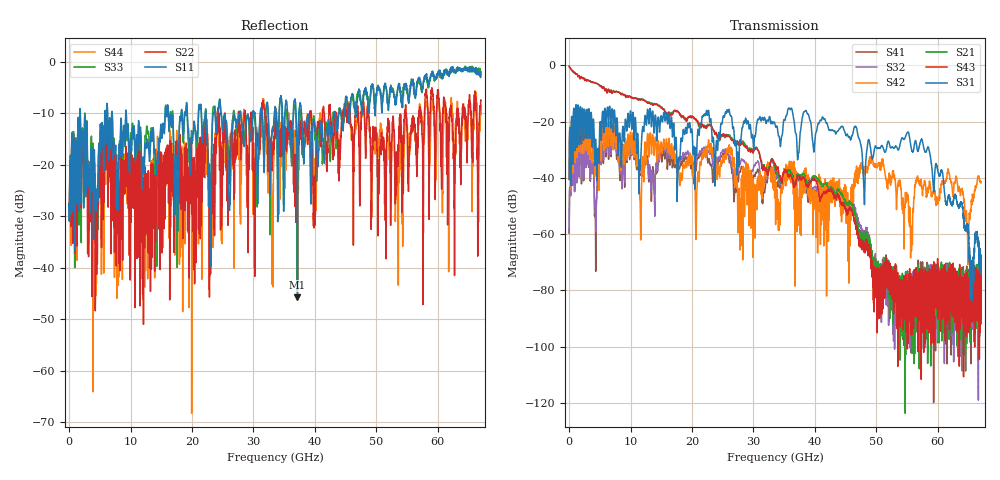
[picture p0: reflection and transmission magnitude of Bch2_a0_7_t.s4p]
!Agilent Technologies,N5247A,US51170199,A.09.90.13
!Agilent N5247A: A.09.90.13
!Date: Monday, October 22, 2018 15:52:18
!Correction: S11(Full 4 Port(1,2,3,4))
!S12(Full 4 Port(1,2,3,4))
!S13(Full 4 Port(1,2,3,4))
!S14(Full 4 Port(1,2,3,4))
!S21(Full 4 Port(1,2,3,4))
!S22(Full 4 Port(1,2,3,4))
!S23(Full 4 Port(1,2,3,4))
!S24(Full 4 Port(1,2,3,4))
!S31(Full 4 Port(1,2,3,4))
!S32(Full 4 Port(1,2,3,4))
!S33(Full 4 Port(1,2,3,4))
!S34(Full 4 Port(1,2,3,4))
!S41(Full 4 Port(1,2,3,4))
!S42(Full 4 Port(1,2,3,4))
!S43(Full 4 Port(1,2,3,4))
!S44(Full 4 Port(1,2,3,4))
!S4P File: Measurements: <S11,S12,S13,S14>,
!<S21,S22,S23,S24>,
!<S31,S32,S33,S34>,
!<S41,S42,S43,S44>:
# Hz S  dB  R 50
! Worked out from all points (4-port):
!   6701 points, 10 MHz to 67 GHz, reference 50 ohm
!   strongest paths, dB at 10 MHz, 16.76 GHz, 33.51 GHz, 50.25 GHz, 67 GHz:
!     S31: -40.5, -22.3, -20.8, -29.4, -69.5
!     S43: -0.3, -17.3, -35.1, -74.4, -76.4
!     S21: -0.3, -16.7, -36.3, -71.9, -79.6
!     S42: -40.6, -31.1, -38.5, -35.3, -41.8
!     S32: -59.7, -32.1, -37.7, -80.4, -80.0
!     S41: -59.4, -35.0, -40.9, -82.0, -86.6
!   lowest |S11| = -45.8 dB at 37.16 GHz (marker M1), VSWR 1.01, Z = 49.7 - j0.429 ohm
!   |S11| at or under -10 dB: 1.823 GHz to 5.823 GHz (3.999 GHz wide, 105 % of centre); 9.303 GHz to 15.63 GHz (6.329 GHz wide, 50.8 % of centre); 37.82 GHz to 43.1 GHz (5.281 GHz wide, 13.1 % of centre)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
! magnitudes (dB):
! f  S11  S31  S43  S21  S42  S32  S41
! 10 MHz  -28.7  -40.5  -0.3  -0.3  -40.6  -59.7  -59.4
! 6.029 GHz  -15.5  -21.7  -8.5  -8.4  -29.3  -30.3  -31.5
! 11.59 GHz  -13.0  -36.8  -12.3  -12.3  -51.1  -37.3  -38.6
! 13.4 GHz  -13.7  -21.9  -13.7  -13.4  -31.5  -43.0  -48.2
! 37.16 GHz  -45.8  -33.4  -39.3  -38.6  -45.4  -38.7  -39.7
! 57.35 GHz  -5.1  -26.2  -89.2  -78.3  -43.5  -85.6  -92.8
! 67 GHz  -1.9  -69.5  -76.4  -79.6  -41.8  -80.0  -86.6
